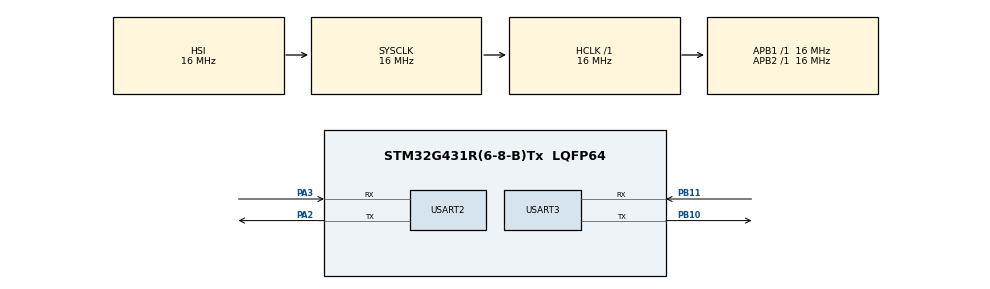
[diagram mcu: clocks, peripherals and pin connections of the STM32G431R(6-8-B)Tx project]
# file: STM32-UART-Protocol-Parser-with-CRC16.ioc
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Mcu.Family=STM32G4
Mcu.Name=STM32G431R(6-8-B)Tx
Mcu.Package=LQFP64
NVIC.PriorityGroup=NVIC_PRIORITYGROUP_4
NVIC.USART2_IRQn=true\:0\:0\:false\:false\:true\:true\:true\:true
NVIC.USART3_IRQn=true\:0\:0\:false\:false\:true\:true\:true\:true
PA2.Mode=Asynchronous
PA2.Signal=USART2_TX
PA3.Mode=Asynchronous
PA3.Signal=USART2_RX
PB10.Mode=Asynchronous
PB10.Signal=USART3_TX
PB11.Mode=Asynchronous
PB11.Signal=USART3_RX
ProjectManager.HeapSize=0x200
ProjectManager.StackSize=0x400
ProjectManager.TargetToolchain=STM32CubeIDE
RCC.AHBFreq_Value=16000000
RCC.APB1Freq_Value=16000000
RCC.APB1TimFreq_Value=16000000
RCC.APB2Freq_Value=16000000
RCC.APB2TimFreq_Value=16000000
RCC.CortexFreq_Value=16000000
RCC.EXTERNAL_CLOCK_VALUE=12288000
RCC.HCLKFreq_Value=16000000
RCC.HSE_VALUE=8000000
RCC.HSI48_VALUE=48000000
RCC.HSI_VALUE=16000000
RCC.LSE_VALUE=32768
RCC.SYSCLKFreq_VALUE=16000000
RCC.USBFreq_Value=64000000
RCC.VCOOutputFreq_Value=128000000
USART2.VirtualMode-Asynchronous=VM_ASYNC
USART3.VirtualMode-Asynchronous=VM_ASYNC
VP_SYS_VS_DBSignals.Mode=DisableDeadBatterySignals
board=custom

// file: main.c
/* USER CODE BEGIN Header */
/**
  ******************************************************************************
  * @file           : main.c
  * @brief          : Main program body
  ******************************************************************************
  * @attention
  *
  * Copyright (c) 2025 STMicroelectronics.
  * All rights reserved.
  *
  * This software is licensed under terms that can be found in the LICENSE file
  * in the root directory of this software component.
  * If no LICENSE file comes with this software, it is provided AS-IS.
  *
  ******************************************************************************
  */
/* USER CODE END Header */
#include "main.h"

/* USER CODE BEGIN Includes */
#include "circular_message.h"
#include "message_state.h"
/* USER CODE END Includes */

/* USER CODE BEGIN PM */
uint8_t data_uart2;
uint8_t data_uart3;
CircularBuffer rx_buffer_uart_2, rx_buffer_uart_3;
MessageContext ctx_uart2, ctx_uart3;

/* USER CODE END PM */

UART_HandleTypeDef huart2;
UART_HandleTypeDef huart3;

void SystemClock_Config(void);
static void MX_GPIO_Init(void);
static void MX_USART2_UART_Init(void);
static void MX_USART3_UART_Init(void);

int main(void)
{

  /* MCU Configuration--------------------------------------------------------*/

  /* Reset of all peripherals, Initializes the Flash interface and the Systick. */
  HAL_Init();

  /* Configure the system clock */
  SystemClock_Config();

  /* Initialize all configured peripherals */
  MX_GPIO_Init();
  MX_USART2_UART_Init();
  MX_USART3_UART_Init();
  /* USER CODE BEGIN 2 */
  CircularBuffer_Init(&rx_buffer_uart_2);
  CircularBuffer_Init(&rx_buffer_uart_3);
  MessageState_Init(&ctx_uart2);
  MessageState_Init(&ctx_uart3);
  HAL_UART_Receive_IT(&huart2, &data_uart2, 1);
  HAL_UART_Receive_IT(&huart3, &data_uart3, 1);
  /* USER CODE END 2 */

  /* Infinite loop */
  while (1)
  {

    /* USER CODE BEGIN 3 */
	  if (CircularBuffer_Read(&rx_buffer_uart_2, &data_uart2)) {
		  MessageState_Process(&ctx_uart2, data_uart2, &huart2);
	  }
	  if (CircularBuffer_Read(&rx_buffer_uart_3, &data_uart3)) {
		  MessageState_Process(&ctx_uart3, data_uart3, &huart3);
	  }
  }
  /* USER CODE END 3 */
}

void SystemClock_Config(void)
{
  RCC_OscInitTypeDef RCC_OscInitStruct = {0};
  RCC_ClkInitTypeDef RCC_ClkInitStruct = {0};

  /** Configure the main internal regulator output voltage
  */
  HAL_PWREx_ControlVoltageScaling(PWR_REGULATOR_VOLTAGE_SCALE1);

  /** Initializes the RCC Oscillators according to the specified parameters
  * in the RCC_OscInitTypeDef structure.
  */
  RCC_OscInitStruct.OscillatorType = RCC_OSCILLATORTYPE_HSI;
  RCC_OscInitStruct.HSIState = RCC_HSI_ON;
  RCC_OscInitStruct.HSICalibrationValue = RCC_HSICALIBRATION_DEFAULT;
  RCC_OscInitStruct.PLL.PLLState = RCC_PLL_NONE;
  if (HAL_RCC_OscConfig(&RCC_OscInitStruct) != HAL_OK)
  {
    Error_Handler();
  }

  /** Initializes the CPU, AHB and APB buses clocks
  */
  RCC_ClkInitStruct.ClockType = RCC_CLOCKTYPE_HCLK|RCC_CLOCKTYPE_SYSCLK
                              |RCC_CLOCKTYPE_PCLK1|RCC_CLOCKTYPE_PCLK2;
  RCC_ClkInitStruct.SYSCLKSource = RCC_SYSCLKSOURCE_HSI;
  RCC_ClkInitStruct.AHBCLKDivider = RCC_SYSCLK_DIV1;
  RCC_ClkInitStruct.APB1CLKDivider = RCC_HCLK_DIV1;
  RCC_ClkInitStruct.APB2CLKDivider = RCC_HCLK_DIV1;

  if (HAL_RCC_ClockConfig(&RCC_ClkInitStruct, FLASH_LATENCY_0) != HAL_OK)
  {
    Error_Handler();
  }
}

static void MX_USART2_UART_Init(void)
{

  huart2.Instance = USART2;
  huart2.Init.BaudRate = 115200;
  huart2.Init.WordLength = UART_WORDLENGTH_8B;
  huart2.Init.StopBits = UART_STOPBITS_1;
  huart2.Init.Parity = UART_PARITY_NONE;
  huart2.Init.Mode = UART_MODE_TX_RX;
  huart2.Init.HwFlowCtl = UART_HWCONTROL_NONE;
  huart2.Init.OverSampling = UART_OVERSAMPLING_16;
  huart2.Init.OneBitSampling = UART_ONE_BIT_SAMPLE_DISABLE;
  huart2.Init.ClockPrescaler = UART_PRESCALER_DIV1;
  huart2.AdvancedInit.AdvFeatureInit = UART_ADVFEATURE_NO_INIT;
  if (HAL_UART_Init(&huart2) != HAL_OK)
  {
    Error_Handler();
  }
  if (HAL_UARTEx_SetTxFifoThreshold(&huart2, UART_TXFIFO_THRESHOLD_1_8) != HAL_OK)
  {
    Error_Handler();
  }
  if (HAL_UARTEx_SetRxFifoThreshold(&huart2, UART_RXFIFO_THRESHOLD_1_8) != HAL_OK)
  {
    Error_Handler();
  }
  if (HAL_UARTEx_DisableFifoMode(&huart2) != HAL_OK)
  {
    Error_Handler();
  }

}

static void MX_USART3_UART_Init(void)
{

  huart3.Instance = USART3;
  huart3.Init.BaudRate = 115200;
  huart3.Init.WordLength = UART_WORDLENGTH_8B;
  huart3.Init.StopBits = UART_STOPBITS_1;
  huart3.Init.Parity = UART_PARITY_NONE;
  huart3.Init.Mode = UART_MODE_TX_RX;
  huart3.Init.HwFlowCtl = UART_HWCONTROL_NONE;
  huart3.Init.OverSampling = UART_OVERSAMPLING_16;
  huart3.Init.OneBitSampling = UART_ONE_BIT_SAMPLE_DISABLE;
  huart3.Init.ClockPrescaler = UART_PRESCALER_DIV1;
  huart3.AdvancedInit.AdvFeatureInit = UART_ADVFEATURE_NO_INIT;
  if (HAL_UART_Init(&huart3) != HAL_OK)
  {
    Error_Handler();
  }
  if (HAL_UARTEx_SetTxFifoThreshold(&huart3, UART_TXFIFO_THRESHOLD_1_8) != HAL_OK)
  {
    Error_Handler();
  }
  if (HAL_UARTEx_SetRxFifoThreshold(&huart3, UART_RXFIFO_THRESHOLD_1_8) != HAL_OK)
  {
    Error_Handler();
  }
  if (HAL_UARTEx_DisableFifoMode(&huart3) != HAL_OK)
  {
    Error_Handler();
  }

}

static void MX_GPIO_Init(void)
{

  /* GPIO Ports Clock Enable */
  __HAL_RCC_GPIOA_CLK_ENABLE();
  __HAL_RCC_GPIOB_CLK_ENABLE();

}

/* USER CODE BEGIN 4 */
void HAL_UART_RxCpltCallback(UART_HandleTypeDef *huart) {
  if (huart->Instance == USART2) {
    CircularBuffer_Write(&rx_buffer_uart_2, data_uart2);
    HAL_UART_Receive_IT(&huart2, &data_uart2, 1);
  }
  if (huart->Instance == USART3) {
    CircularBuffer_Write(&rx_buffer_uart_3, data_uart3);
    HAL_UART_Receive_IT(&huart3, &data_uart3, 1);
  }
}
/* USER CODE END 4 */

void Error_Handler(void)
{
  __disable_irq();
  while (1)
  {
  }
}
